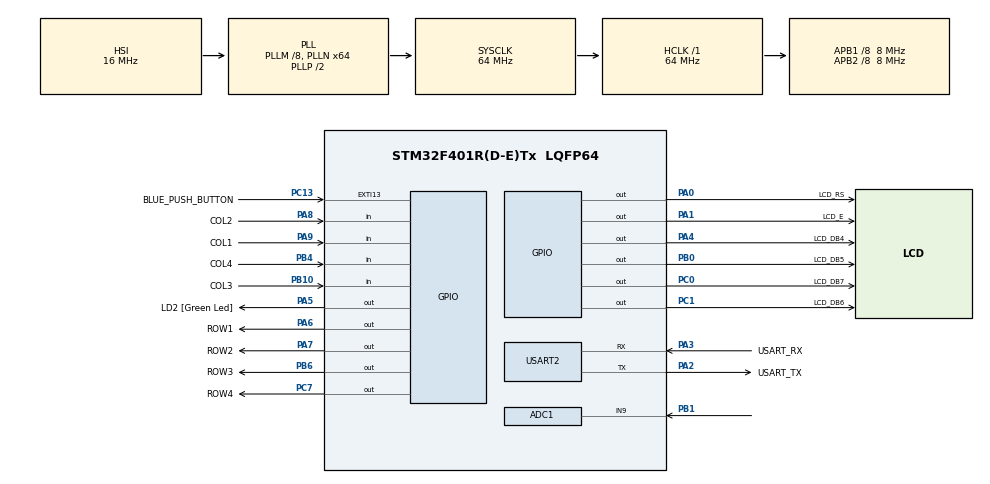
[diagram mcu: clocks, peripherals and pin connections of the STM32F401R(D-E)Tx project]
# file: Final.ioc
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ADC1.Channel-1\#ChannelRegularConversion=ADC_CHANNEL_9
ADC1.ContinuousConvMode=ENABLE
ADC1.ExternalTrigConv=ADC_SOFTWARE_START
ADC1.NbrOfConversion=1
ADC1.NbrOfConversionFlag=1
ADC1.Rank-1\#ChannelRegularConversion=1
ADC1.SamplingTime-1\#ChannelRegularConversion=ADC_SAMPLETIME_3CYCLES
ADC1.master=1
Mcu.Family=STM32F4
Mcu.Name=STM32F401R(D-E)Tx
Mcu.Package=LQFP64
NVIC.EXTI15_10_IRQn=true\:1\:0\:true\:false\:true\:true\:true\:true
NVIC.PriorityGroup=NVIC_PRIORITYGROUP_4
NVIC.TIM4_IRQn=true\:0\:0\:false\:false\:true\:true\:true\:true
PA0-WKUP.GPIO_Label=LCD_RS
PA0-WKUP.Signal=GPIO_Output
PA1.GPIO_Label=LCD_E
PA1.Signal=GPIO_Output
PA13.GPIO_Label=TMS
PA13.Mode=Serial_Wire
PA13.Signal=SYS_JTMS-SWDIO
PA14.GPIO_Label=TCK
PA14.Mode=Serial_Wire
PA14.Signal=SYS_JTCK-SWCLK
PA2.GPIO_Label=USART_TX
PA2.GPIO_Mode=GPIO_MODE_AF_PP
PA2.GPIO_PuPd=GPIO_NOPULL
PA2.GPIO_Speed=GPIO_SPEED_FREQ_LOW
PA2.Mode=Asynchronous
PA2.Signal=USART2_TX
PA3.GPIO_Label=USART_RX
PA3.GPIO_Mode=GPIO_MODE_AF_PP
PA3.GPIO_PuPd=GPIO_NOPULL
PA3.GPIO_Speed=GPIO_SPEED_FREQ_LOW
PA3.Mode=Asynchronous
PA3.Signal=USART2_RX
PA4.GPIO_Label=LCD_DB4
PA4.Signal=GPIO_Output
PA5.GPIO_Label=LD2 [Green Led]
PA5.GPIO_Mode=GPIO_MODE_OUTPUT_PP
PA5.GPIO_PuPd=GPIO_NOPULL
PA5.GPIO_Speed=GPIO_SPEED_FREQ_LOW
PA5.Signal=GPIO_Output
PA6.GPIO_Label=ROW1
PA6.Signal=GPIO_Output
PA7.GPIO_Label=ROW2
PA7.Signal=GPIO_Output
PA8.GPIO_Label=COL2
PA8.GPIO_PuPd=GPIO_PULLUP
PA8.Signal=GPIO_Input
PA9.GPIO_Label=COL1
PA9.GPIO_PuPd=GPIO_PULLUP
PA9.Signal=GPIO_Input
PB0.GPIO_Label=LCD_DB5
PB0.Signal=GPIO_Output
PB1.Signal=ADCx_IN9
PB10.GPIO_Label=COL3
PB10.GPIO_PuPd=GPIO_PULLUP
PB10.Signal=GPIO_Input
PB3.GPIO_Label=SWO
PB3.Signal=SYS_JTDO-SWO
PB4.GPIO_Label=COL4
PB4.GPIO_PuPd=GPIO_PULLUP
PB4.Signal=GPIO_Input
PB6.GPIO_Label=ROW3
PB6.Signal=GPIO_Output
PC0.GPIO_Label=LCD_DB7
PC0.Signal=GPIO_Output
PC1.GPIO_Label=LCD_DB6
PC1.Signal=GPIO_Output
PC13-ANTI_TAMP.GPIO_Label=BLUE_PUSH_BUTTON
PC13-ANTI_TAMP.GPIO_ModeDefaultEXTI=GPIO_MODE_IT_FALLING
PC13-ANTI_TAMP.Signal=GPXTI13
PC14-OSC32_IN.Mode=LSE-External-Oscillator
PC14-OSC32_IN.Signal=RCC_OSC32_IN
PC15-OSC32_OUT.Mode=LSE-External-Oscillator
PC15-OSC32_OUT.Signal=RCC_OSC32_OUT
PC7.GPIO_Label=ROW4
PC7.Signal=GPIO_Output
PH0\ -\ OSC_IN.Mode=HSE-External-Clock-Source
PH0\ -\ OSC_IN.Signal=RCC_OSC_IN
PH1\ -\ OSC_OUT.Mode=HSE-External-Clock-Source
PH1\ -\ OSC_OUT.Signal=RCC_OSC_OUT
ProjectManager.HeapSize=0x200
ProjectManager.StackSize=0x400
ProjectManager.TargetToolchain=STM32CubeIDE
RCC.48MHZClocksFreq_Value=18285714.285714287
RCC.AHBFreq_Value=64000000
RCC.APB1CLKDivider=RCC_HCLK_DIV8
RCC.APB1Freq_Value=8000000
RCC.APB1TimFreq_Value=16000000
RCC.APB2CLKDivider=RCC_HCLK_DIV8
RCC.APB2Freq_Value=8000000
RCC.APB2TimFreq_Value=16000000
RCC.CortexFreq_Value=64000000
RCC.HCLKFreq_Value=64000000
RCC.HSE_VALUE=8000000
RCC.HSI_VALUE=16000000
RCC.PLLM=8
RCC.PLLN=64
RCC.PLLQ=7
RCC.SYSCLKFreq_VALUE=64000000
RCC.SYSCLKSource=RCC_SYSCLKSOURCE_PLLCLK
RCC.VCOOutputFreq_Value=128000000
SH.ADCx_IN9.0=ADC1_IN9,IN9
TIM4.Period=999
TIM4.Prescaler=15999
USART2.VirtualMode=VM_ASYNC
VP_TIM4_VS_ClockSourceINT.Mode=Internal
board=NUCLEO-F401RE

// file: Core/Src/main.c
/* USER CODE BEGIN Header */
/**
  ******************************************************************************
  * @file           : main.c
  * @brief          : Main program body
  ******************************************************************************
  * @attention
  *
  * Copyright (c) 2025 STMicroelectronics.
  * All rights reserved.
  *
  * This software is licensed under terms that can be found in the LICENSE file
  * in the root directory of this software component.
  * If no LICENSE file comes with this software, it is provided AS-IS.
  *
  ******************************************************************************
  */
/* USER CODE END Header */
#include "main.h"

/* USER CODE BEGIN Includes */
#include <stdio.h>
#include <string.h>
#include <GPIO_util.h>
#include "lcd4.h"
/* USER CODE END Includes */

ADC_HandleTypeDef hadc1;

TIM_HandleTypeDef htim4;

UART_HandleTypeDef huart2;

void SystemClock_Config(void);
static void MX_GPIO_Init(void);
static void MX_USART2_UART_Init(void);
static void MX_TIM4_Init(void);
static void MX_ADC1_Init(void);

/* USER CODE BEGIN 0 */
extern void initialise_monitor_handles(void);

//clock switching variable toggled by the hardware interrupt
volatile int swTime = 0;
volatile int tempFlop = 0;

//global clock variables
int hour;
int minute;
int second;
char ampm[3] = "PM";

//global char key_map
char key_map [4][4] = {
		  {'1', '2', '3', 'A'},
		  {'4', '5', '6', 'B'},
		  {'7', '8', '9', 'C'},
		  {'*', '0', '#', 'D'}
		  };

//function declarations
void increment_clock ();
char find_key();
void set_time();

//simple clock incrementing function that handles clock-like overflows
void increment_clock(){
	second ++;
	if (second == 60){
		second = 0;
		minute ++;
		if(minute == 60){
			minute = 0;
			hour ++;
			if (hour == 12 && minute ==0){
				//change the string setting
				if (strcmp(ampm, "AM") == 0){
					strcpy(ampm, "PM");
				}
				else{
					strcpy(ampm, "AM");
				}
			}
			if(hour > 12){
				hour = 1;
			}
		}
	}
	return;
}

//Custom GPIO_util.c file contains definitions
char find_key(){
    //this flag will be set once a keypress is registered
    int pressed_flag = 0;
    for (int row = 0; row < 4; row++) {
        GPIO_util_setRow(row);
    	HAL_Delay(100);
        for (int col = 0; col < 4; col++) {
            //Checks if the current pin is high. If so, the button
            //corresponding to the current collumn and row is pressed
        	if (GPIO_util_readCol(col) == 0){
                pressed_flag = 1;
                //loop here until the readCol value goes back to 1
                //ie: the key has been lifted
                while (pressed_flag == 1) {
                    if (GPIO_util_readCol(col) == 1) {
                        pressed_flag = 0;
                    }
                }
                //Return the char associated with the keypress
                return key_map[row][col];
            }
        }
    }
    //Returns null character if no key is pressed when function was called in the superloop;
    return '\0';
}

//This funciton relies heavily on while loops to keep the control flow from leaving
void set_time(){

	int input_flag = 1;
	char currentChar = '\0';
	int input = 0;

	char inputBuffer[30];
	char displayBuffer[30];

	lcdCommand(lcdClear);
	strcpy(inputBuffer, "");
	lcdString("Hour: "); //---------------------------------------------------Hour while loop
	while(input_flag == 1){
		//load a key press into the char
		currentChar = find_key();

		//'#' is the enter key
		if (currentChar == '#') {
		//if the input integer is within range exit the loop
			if (input <= 12 && input >= 1) {
				hour = input;
				input_flag = 0;
			}
		//error checking statement
			else {
				lcdCommand(lcdClear);
				lcdString("ERROR");

				HAL_Delay(500);
				strcpy(inputBuffer, ""); //clear the inputBuffer and int
				input = 0;

				lcdCommand(lcdClear);
				lcdString("Hour: ");

			}
		}
		//any other character is picked up with this statement
		else if (currentChar != '\0') {
			strcpy(displayBuffer, "");
			strcpy(displayBuffer, "Hour: ");//clear then load display buffer

			strncat(inputBuffer, &currentChar, 1);//cat the input string

			strcat(displayBuffer, inputBuffer); //cat onto display Buffer

			lcdCommand(lcdClear);

			lcdString(displayBuffer);
		    input = (input * 10) + (currentChar - '0');
		}
	}

	//reset all variables for next loop
	input_flag = 1;
	currentChar = '\0';
	input = 0;

    lcdCommand(lcdClear);
    strcpy(inputBuffer, "");
    lcdString("Minute: "); //-----------------------------------------------Minute while loop
    while (input_flag) {
		currentChar = find_key();

	    if (currentChar == '#') {
	        if (input <= 59 && input >= 0) {
	        	minute = input;
	            input_flag = 0;
	        }
	        //If input is invalid, prints "ERROR" and resets everything
	        else {
				lcdCommand(lcdClear);
				lcdString("ERROR");

				HAL_Delay(500);
				strcpy(inputBuffer, ""); //clear the inputBuffer and int
				input = 0;

				lcdCommand(lcdClear);
				lcdString("Minute: ");
	        }
	    }
	    else if (currentChar != '\0') {
			strcpy(displayBuffer, "");
			strcpy(displayBuffer, "Minute: ");//clear then load display buffer

			strncat(inputBuffer, &currentChar, 1);//cat the input string

			strcat(displayBuffer, inputBuffer); //cat onto display Buffer

			lcdCommand(lcdClear);

			lcdString(displayBuffer);
		    input = (input * 10) + (currentChar - '0');
		}
	}

	//reset all variables for next loop
	input_flag = 1;
	currentChar = '\0';
	input = 0;

    lcdCommand(lcdClear);
    strcpy(inputBuffer, "");
	lcdString("AM(1) or PM(2):");//--------------------------------------set AM/PM while loop
	while (input_flag) {
		currentChar = find_key();

		if (currentChar == '#') {
			//If input is 1 set AM
			if (input == 1) {
				strcpy(ampm, "AM");
				input_flag = 0;
			}
			//If input is 2 set PM
			else if (input == 2) {
				strcpy(ampm ,"PM");
				input_flag = 0;
			}
			else {
                lcdCommand(lcdClear);
				lcdString("ERROR");

				HAL_Delay(500);
				strcpy(inputBuffer, ""); //clear the inputBuffer and int
				input = 0;

				lcdCommand(lcdClear);
				lcdString("AM(1) or PM(2):");
			}
		}
        //again, any other character is caught with this statement
		else if (currentChar != '\0') {
			strcpy(displayBuffer, "");
			strcpy(displayBuffer, "AM(1) or PM(2):");//clear then load display buffer

			strncat(inputBuffer, &currentChar, 1);//cat the input string

			strcat(displayBuffer, inputBuffer); //cat onto display Buffer

			lcdCommand(lcdClear);

			lcdString(displayBuffer);

			input = currentChar - '0'; //placeholder math for thie input number conversion
		}

	}
    //second is defaulted to 0
	second = 0;
}
/* USER CODE END 0 */

int main(void)
{

  /* USER CODE BEGIN 1 */
  initialise_monitor_handles();
  /* USER CODE END 1 */

  /* MCU Configuration--------------------------------------------------------*/

  /* Reset of all peripherals, Initializes the Flash interface and the Systick. */
  HAL_Init();

  /* Configure the system clock */
  SystemClock_Config();

  /* Initialize all configured peripherals */
  MX_GPIO_Init();
  MX_USART2_UART_Init();
  MX_TIM4_Init();
  MX_ADC1_Init();
  /* USER CODE BEGIN 2 */
  HAL_TIM_Base_Start_IT(&htim4);
  lcdSetup(GPIOA, LCD_RS_Pin,
  		   GPIOA, LCD_E_Pin,
  		   GPIOA, LCD_DB4_Pin,
  		   GPIOB, LCD_DB5_Pin,
  		   GPIOC, LCD_DB6_Pin,
  		   GPIOC, LCD_DB7_Pin);
  lcdInit();
  /* USER CODE END 2 */

  /* Infinite loop */
  /* USER CODE BEGIN WHILE */

  char inputChar;
  char buffer[30];
  uint16_t readValue;

  float Centegrade;
  int intCentegrade;

  float farenheight;
  int intFarenheight;

  hour = 11;
  minute = 59;
  second = 55;

  //////////////////////superloop////////////////////////
  while (1)
  {
	  inputChar = find_key();

      //ADC code block to grab the current value and
      //convert to a readable temperature
	  HAL_ADC_Start(&hadc1);
	  HAL_ADC_PollForConversion(&hadc1, HAL_MAX_DELAY);
	  readValue = HAL_ADC_GetValue(&hadc1);

	  Centegrade = (readValue * 5 / 41) - 55;
	  farenheight = Centegrade * (9/5) + 55;

	  intCentegrade = Centegrade;
	  intFarenheight = farenheight;

	  if (swTime > 1){
		  increment_clock();
		  lcdCommand(lcdClear);

		  if (tempFlop == 0){
			  sprintf(buffer,"%02d:%02d:%02d %s %02dF", hour, minute, second, ampm, intFarenheight);
		  }
		  else{
			  sprintf(buffer,"%02d:%02d:%02d %s %02dC", hour, minute, second, ampm, intCentegrade);
		  }
		  lcdString(buffer);
		  printf("%s\n", buffer);

		  swTime = 0;
	  }

        //break off into the set_time subroutine and disable the global interrupt before heading there
	  if (inputChar == '*'){
		  HAL_NVIC_DisableIRQ(TIM4_IRQn);
		  set_time();
		  HAL_NVIC_EnableIRQ(TIM4_IRQn);
	  }

    /* USER CODE END WHILE */

  }
}

void SystemClock_Config(void)
{
  RCC_OscInitTypeDef RCC_OscInitStruct = {0};
  RCC_ClkInitTypeDef RCC_ClkInitStruct = {0};

  /** Configure the main internal regulator output voltage
  */
  __HAL_RCC_PWR_CLK_ENABLE();
  __HAL_PWR_VOLTAGESCALING_CONFIG(PWR_REGULATOR_VOLTAGE_SCALE2);

  /** Initializes the RCC Oscillators according to the specified parameters
  * in the RCC_OscInitTypeDef structure.
  */
  RCC_OscInitStruct.OscillatorType = RCC_OSCILLATORTYPE_HSI;
  RCC_OscInitStruct.HSIState = RCC_HSI_ON;
  RCC_OscInitStruct.HSICalibrationValue = RCC_HSICALIBRATION_DEFAULT;
  RCC_OscInitStruct.PLL.PLLState = RCC_PLL_ON;
  RCC_OscInitStruct.PLL.PLLSource = RCC_PLLSOURCE_HSI;
  RCC_OscInitStruct.PLL.PLLM = 8;
  RCC_OscInitStruct.PLL.PLLN = 64;
  RCC_OscInitStruct.PLL.PLLP = RCC_PLLP_DIV2;
  RCC_OscInitStruct.PLL.PLLQ = 7;
  if (HAL_RCC_OscConfig(&RCC_OscInitStruct) != HAL_OK)
  {
    Error_Handler();
  }

  /** Initializes the CPU, AHB and APB buses clocks
  */
  RCC_ClkInitStruct.ClockType = RCC_CLOCKTYPE_HCLK|RCC_CLOCKTYPE_SYSCLK
                              |RCC_CLOCKTYPE_PCLK1|RCC_CLOCKTYPE_PCLK2;
  RCC_ClkInitStruct.SYSCLKSource = RCC_SYSCLKSOURCE_PLLCLK;
  RCC_ClkInitStruct.AHBCLKDivider = RCC_SYSCLK_DIV1;
  RCC_ClkInitStruct.APB1CLKDivider = RCC_HCLK_DIV8;
  RCC_ClkInitStruct.APB2CLKDivider = RCC_HCLK_DIV8;

  if (HAL_RCC_ClockConfig(&RCC_ClkInitStruct, FLASH_LATENCY_2) != HAL_OK)
  {
    Error_Handler();
  }
}

static void MX_ADC1_Init(void)
{

  ADC_ChannelConfTypeDef sConfig = {0};

  /** Configure the global features of the ADC (Clock, Resolution, Data Alignment and number of conversion)
  */
  hadc1.Instance = ADC1;
  hadc1.Init.ClockPrescaler = ADC_CLOCK_SYNC_PCLK_DIV2;
  hadc1.Init.Resolution = ADC_RESOLUTION_12B;
  hadc1.Init.ScanConvMode = DISABLE;
  hadc1.Init.ContinuousConvMode = ENABLE;
  hadc1.Init.DiscontinuousConvMode = DISABLE;
  hadc1.Init.ExternalTrigConvEdge = ADC_EXTERNALTRIGCONVEDGE_NONE;
  hadc1.Init.ExternalTrigConv = ADC_SOFTWARE_START;
  hadc1.Init.DataAlign = ADC_DATAALIGN_RIGHT;
  hadc1.Init.NbrOfConversion = 1;
  hadc1.Init.DMAContinuousRequests = DISABLE;
  hadc1.Init.EOCSelection = ADC_EOC_SINGLE_CONV;
  if (HAL_ADC_Init(&hadc1) != HAL_OK)
  {
    Error_Handler();
  }

  /** Configure for the selected ADC regular channel its corresponding rank in the sequencer and its sample time.
  */
  sConfig.Channel = ADC_CHANNEL_9;
  sConfig.Rank = 1;
  sConfig.SamplingTime = ADC_SAMPLETIME_3CYCLES;
  if (HAL_ADC_ConfigChannel(&hadc1, &sConfig) != HAL_OK)
  {
    Error_Handler();
  }

}

static void MX_TIM4_Init(void)
{

  TIM_ClockConfigTypeDef sClockSourceConfig = {0};
  TIM_MasterConfigTypeDef sMasterConfig = {0};

  htim4.Instance = TIM4;
  htim4.Init.Prescaler = 15999;
  htim4.Init.CounterMode = TIM_COUNTERMODE_UP;
  htim4.Init.Period = 999;
  htim4.Init.ClockDivision = TIM_CLOCKDIVISION_DIV1;
  htim4.Init.AutoReloadPreload = TIM_AUTORELOAD_PRELOAD_DISABLE;
  if (HAL_TIM_Base_Init(&htim4) != HAL_OK)
  {
    Error_Handler();
  }
  sClockSourceConfig.ClockSource = TIM_CLOCKSOURCE_INTERNAL;
  if (HAL_TIM_ConfigClockSource(&htim4, &sClockSourceConfig) != HAL_OK)
  {
    Error_Handler();
  }
  sMasterConfig.MasterOutputTrigger = TIM_TRGO_RESET;
  sMasterConfig.MasterSlaveMode = TIM_MASTERSLAVEMODE_DISABLE;
  if (HAL_TIMEx_MasterConfigSynchronization(&htim4, &sMasterConfig) != HAL_OK)
  {
    Error_Handler();
  }

}

static void MX_USART2_UART_Init(void)
{

  huart2.Instance = USART2;
  huart2.Init.BaudRate = 115200;
  huart2.Init.WordLength = UART_WORDLENGTH_8B;
  huart2.Init.StopBits = UART_STOPBITS_1;
  huart2.Init.Parity = UART_PARITY_NONE;
  huart2.Init.Mode = UART_MODE_TX_RX;
  huart2.Init.HwFlowCtl = UART_HWCONTROL_NONE;
  huart2.Init.OverSampling = UART_OVERSAMPLING_16;
  if (HAL_UART_Init(&huart2) != HAL_OK)
  {
    Error_Handler();
  }

}

static void MX_GPIO_Init(void)
{
  GPIO_InitTypeDef GPIO_InitStruct = {0};

  /* GPIO Ports Clock Enable */
  __HAL_RCC_GPIOC_CLK_ENABLE();
  __HAL_RCC_GPIOH_CLK_ENABLE();
  __HAL_RCC_GPIOA_CLK_ENABLE();
  __HAL_RCC_GPIOB_CLK_ENABLE();

  /*Configure GPIO pin Output Level */
  HAL_GPIO_WritePin(GPIOC, LCD_DB7_Pin|LCD_DB6_Pin|ROW4_Pin, GPIO_PIN_RESET);

  /*Configure GPIO pin Output Level */
  HAL_GPIO_WritePin(GPIOA, LCD_RS_Pin|LCD_E_Pin|LCD_DB4_Pin|LD2_Pin
                          |ROW1_Pin|ROW2_Pin, GPIO_PIN_RESET);

  /*Configure GPIO pin Output Level */
  HAL_GPIO_WritePin(GPIOB, LCD_DB5_Pin|ROW3_Pin, GPIO_PIN_RESET);

  /*Configure GPIO pin : BLUE_PUSH_BUTTON_Pin */
  GPIO_InitStruct.Pin = BLUE_PUSH_BUTTON_Pin;
  GPIO_InitStruct.Mode = GPIO_MODE_IT_FALLING;
  GPIO_InitStruct.Pull = GPIO_NOPULL;
  HAL_GPIO_Init(BLUE_PUSH_BUTTON_GPIO_Port, &GPIO_InitStruct);

  /*Configure GPIO pins : LCD_DB7_Pin LCD_DB6_Pin ROW4_Pin */
  GPIO_InitStruct.Pin = LCD_DB7_Pin|LCD_DB6_Pin|ROW4_Pin;
  GPIO_InitStruct.Mode = GPIO_MODE_OUTPUT_PP;
  GPIO_InitStruct.Pull = GPIO_NOPULL;
  GPIO_InitStruct.Speed = GPIO_SPEED_FREQ_LOW;
  HAL_GPIO_Init(GPIOC, &GPIO_InitStruct);

  /*Configure GPIO pins : LCD_RS_Pin LCD_E_Pin LCD_DB4_Pin LD2_Pin
                           ROW1_Pin ROW2_Pin */
  GPIO_InitStruct.Pin = LCD_RS_Pin|LCD_E_Pin|LCD_DB4_Pin|LD2_Pin
                          |ROW1_Pin|ROW2_Pin;
  GPIO_InitStruct.Mode = GPIO_MODE_OUTPUT_PP;
  GPIO_InitStruct.Pull = GPIO_NOPULL;
  GPIO_InitStruct.Speed = GPIO_SPEED_FREQ_LOW;
  HAL_GPIO_Init(GPIOA, &GPIO_InitStruct);

  /*Configure GPIO pins : LCD_DB5_Pin ROW3_Pin */
  GPIO_InitStruct.Pin = LCD_DB5_Pin|ROW3_Pin;
  GPIO_InitStruct.Mode = GPIO_MODE_OUTPUT_PP;
  GPIO_InitStruct.Pull = GPIO_NOPULL;
  GPIO_InitStruct.Speed = GPIO_SPEED_FREQ_LOW;
  HAL_GPIO_Init(GPIOB, &GPIO_InitStruct);

  /*Configure GPIO pins : COL3_Pin COL4_Pin */
  GPIO_InitStruct.Pin = COL3_Pin|COL4_Pin;
  GPIO_InitStruct.Mode = GPIO_MODE_INPUT;
  GPIO_InitStruct.Pull = GPIO_PULLUP;
  HAL_GPIO_Init(GPIOB, &GPIO_InitStruct);

  /*Configure GPIO pins : COL2_Pin COL1_Pin */
  GPIO_InitStruct.Pin = COL2_Pin|COL1_Pin;
  GPIO_InitStruct.Mode = GPIO_MODE_INPUT;
  GPIO_InitStruct.Pull = GPIO_PULLUP;
  HAL_GPIO_Init(GPIOA, &GPIO_InitStruct);

  /* EXTI interrupt init*/
  HAL_NVIC_SetPriority(EXTI15_10_IRQn, 1, 0);
  HAL_NVIC_EnableIRQ(EXTI15_10_IRQn);

}

/* USER CODE BEGIN 4 */
void HAL_TIM_PeriodElapsedCallback(TIM_HandleTypeDef *htim){
	if (htim == &htim4){
		//toggle the global int switch to 1 (reset in the main loop)
		swTime ++;
		HAL_GPIO_TogglePin(GPIOA, GPIO_PIN_5);
	}
}

void HAL_GPIO_EXTI_Callback(uint16_t GPIO_Pin){
	if (GPIO_Pin == BLUE_PUSH_BUTTON_Pin){
		if (tempFlop == 0){
			tempFlop = 1;
		}
		else
			tempFlop = 0;
	}
}
/* USER CODE END 4 */

void Error_Handler(void)
{
  __disable_irq();
  while (1)
  {
  }
}
